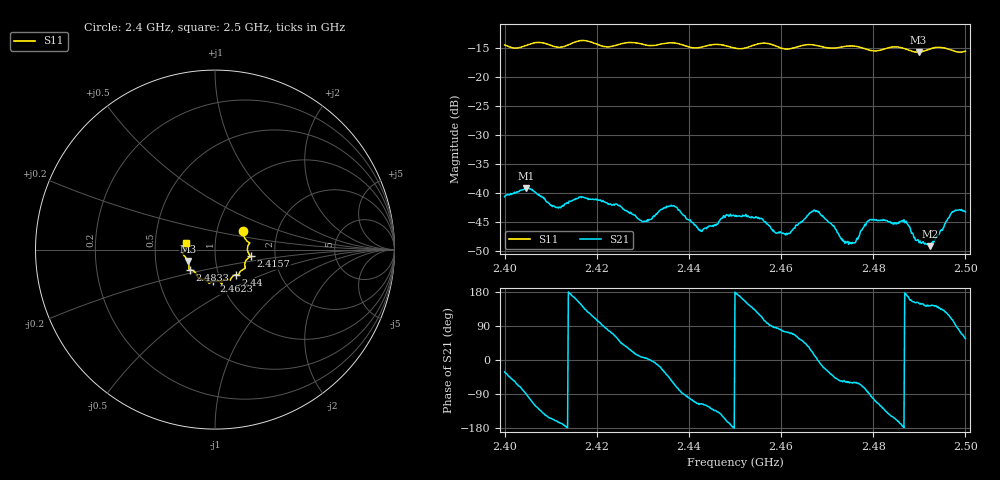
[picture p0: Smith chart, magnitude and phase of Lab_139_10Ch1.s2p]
# Hz S RI R 50
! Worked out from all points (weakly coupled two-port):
!   601 points, 2.4 GHz to 2.5 GHz, reference 50 ohm
!   highest |S21| = -39.08 dB at 2.4047 GHz (marker M1); lowest = -49.1 dB at 2.4923 GHz (marker M2)
!   lowest |S11| = -15.7 dB at 2.4898 GHz (marker M3), VSWR 1.39, Z = 36.6 - j4.76 ohm
!   |S11| at or under -10 dB: start of sweep to end of sweep
!   S12 and S22 are empty: the file has one direction only
!   S11 on the Smith chart (normalised r, x): 2.4 GHz: 1.33, +0.29; 2.4157 GHz: 1.49, -0.11; 2.44 GHz: 1.21, -0.35; 2.4623 GHz: 0.92, -0.34; 2.4833 GHz: 0.74, -0.17; 2.5 GHz: 0.72, +0.05
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2.4e9  0.1567 0.1058  0.00798 -0.00483  0 0  0 0
2.404667e9  0.1822 0.0443  0.000137 -0.0111  0 0  0 0
2.411167e9  0.181 0.0119  -0.00713 -0.00253  0 0  0 0
2.415667e9  0.1991 -0.0369  -0.00835 0.0033  0 0  0 0
2.416667e9  0.2023 -0.0401  -0.00752 0.00527  0 0  0 0
2.4245e9  0.1663 -0.0909  0.00439 0.00667  0 0  0 0
2.43e9  0.1552 -0.1119  0.00564 0.000706  0 0  0 0
2.433333e9  0.1342 -0.1343  0.00665 -0.00164  0 0  0 0
2.436667e9  0.1335 -0.1447  0.00375 -0.00688  0 0  0 0
2.44e9  0.1153 -0.1401  -0.00105 -0.0058  0 0  0 0
2.442667e9  0.0933 -0.1546  -0.00206 -0.00433  0 0  0 0
2.45e9  0.0638 -0.1653  -0.00634 0.000112  0 0  0 0
2.462333e9  -0.00879 -0.1761  0.00158 0.00449  0 0  0 0
2.466667e9  -0.0336 -0.1868  0.00643 0.00272  0 0  0 0
2.475167e9  -0.0911 -0.1612  0.00192 -0.00324  0 0  0 0
2.479167e9  -0.1058 -0.1337  0.000137 -0.0059  0 0  0 0
2.483333e9  -0.1397 -0.1115  -0.00445 -0.00353  0 0  0 0
2.486833e9  -0.1449 -0.0988  -0.00558 0.000276  0 0  0 0
2.489833e9  -0.1509 -0.0632  -0.00339 0.00191  0 0  0 0
2.492333e9  -0.1709 -0.0351  -0.00281 0.0021  0 0  0 0
2.497333e9  -0.1683 -0.00226  -0.00158 0.00673  0 0  0 0
2.5e9  -0.1627 0.0371  0.00383 0.00574  0 0  0 0
